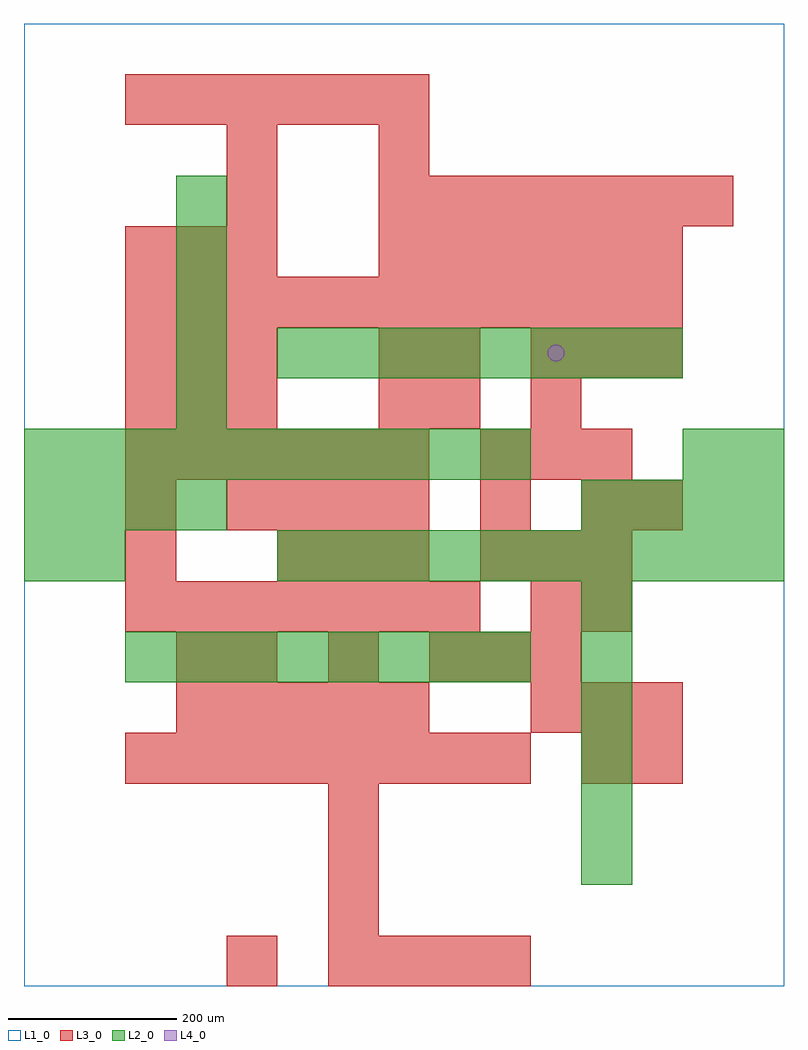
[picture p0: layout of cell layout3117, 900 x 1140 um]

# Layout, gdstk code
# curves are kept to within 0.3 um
import gdstk
lib = gdstk.Library(unit=1e-6, precision=1e-09)
def R(c, l, rs):  # rectangles x0, y0, x1, y1
    for r in rs: c.add(gdstk.rectangle(r[:2], r[2:], *l))
def A(c, l, x, y, w, h, nx, ny, dx, dy):  # array of equal rectangles
    R(c, l, [(x+i*dx, y+j*dy, x+i*dx+w, y+j*dy+h) for i in range(nx) for j in range(ny)])
def P(c, l, *ps):  # polygons
    for p in ps: c.add(gdstk.Polygon(p, *l))
L1_0 = (1, 0)
L2_0 = (2, 0)
L3_0 = (3, 0)
L4_0 = (4, 0)

layout3117 = lib.new_cell('layout3117')
R(layout3117, L1_0, [(0,0,900,1140)])
A(layout3117, L2_0, 660, 120, 60, 60, 1, 6, 0, 60)
A(layout3117, L2_0, 120, 360, 60, 60, 8, 1, 60, 0)
A(layout3117, L2_0, 300, 480, 60, 60, 10, 1, 60, 0)
A(layout3117, L2_0, 0, 540, 60, 60, 4, 1, 60, 0)
A(layout3117, L2_0, 660, 540, 60, 60, 4, 1, 60, 0)
A(layout3117, L2_0, 0, 600, 60, 60, 10, 1, 60, 0)
A(layout3117, L2_0, 180, 660, 60, 60, 1, 5, 0, 60)
A(layout3117, L2_0, 300, 720, 60, 60, 8, 1, 60, 0)
R(layout3117, L2_0, [(0,480,60,540), (60,480,120,540), (780,600,840,660), (840,600,900,660)])
A(layout3117, L3_0, 360, 0, 60, 60, 4, 1, 60, 0)
A(layout3117, L3_0, 360, 60, 60, 60, 1, 3, 0, 60)
A(layout3117, L3_0, 120, 240, 60, 60, 8, 1, 60, 0)
A(layout3117, L3_0, 180, 300, 60, 60, 5, 1, 60, 0)
A(layout3117, L3_0, 600, 300, 60, 60, 3, 2, 60, 420)
A(layout3117, L3_0, 240, 360, 60, 60, 3, 1, 120, 0)
A(layout3117, L3_0, 120, 420, 60, 60, 7, 1, 60, 0)
A(layout3117, L3_0, 300, 480, 60, 60, 3, 1, 60, 0)
A(layout3117, L3_0, 540, 480, 60, 60, 3, 2, 60, 120)
A(layout3117, L3_0, 240, 540, 60, 60, 4, 1, 60, 0)
A(layout3117, L3_0, 120, 600, 60, 60, 6, 2, 60, 420)
A(layout3117, L3_0, 120, 660, 60, 60, 3, 2, 60, 60)
A(layout3117, L3_0, 120, 780, 60, 60, 11, 1, 60, 0)
A(layout3117, L3_0, 120, 840, 60, 60, 3, 1, 60, 0)
A(layout3117, L3_0, 420, 840, 60, 60, 6, 1, 60, 0)
A(layout3117, L3_0, 420, 900, 60, 60, 7, 1, 60, 0)
R(layout3117, L3_0, [(240,0,300,60), (660,240,720,300), (720,240,780,300), (180,360,240,420), (540,360,600,420), (600,360,660,420), (600,420,660,480), (660,420,720,480), (120,480,180,540), (120,540,180,600), (540,540,600,600), (660,540,720,600), (720,540,780,600), (420,660,480,720), (480,660,540,720), (600,660,660,720), (420,720,480,780), (480,720,540,780), (240,900,300,960), (240,960,300,1020), (420,960,480,1020)])
P(layout3117, L4_0, [(640,750),(639.239,753.827),(637.071,757.071),(633.827,759.239),(630,760),(626.173,759.239),(622.929,757.071),(620.761,753.827),(620,750),(620.761,746.173),(622.929,742.929),(626.173,740.761),(630,740),(633.827,740.761),(637.071,742.929),(639.239,746.173)])

lib.write_gds('layout3117.gds')
